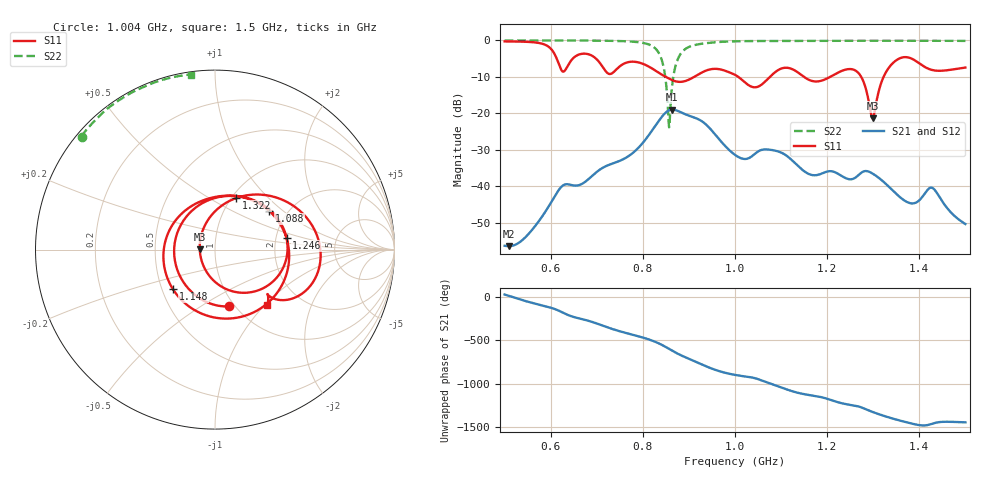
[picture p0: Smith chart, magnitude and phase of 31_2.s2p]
! TOUCHSTONE file generated by CST MICROWAVE STUDIO
! Date and time: Thu Feb 18 07:36:12 2021
! Project name: Scenario_1_Planar_Body_Tissue_Out_of_Line.cst
! Parameters = {L_HA=400; Ltissue=1000; MT=2.54; Rad_Dielectric=30; Rad_Lower=7.3; Rad_Upper=30; Wtissue=1000; a_HA=580; a_WG=246; b_HA=500; b_WG=121; c_HA=0; c_WG=187; d_feed=85; dx1=346; dy1=173; h_feed=15; h_lower=18; h_upper=40; hfat=3; hgap=25; hmuscle=50; hskin=1.5}
! Header version: 2018
! Port assignment regex: !\s*Touchstone port\s*([0-9]+)\s*=\s*(CST MWS port|CST DS port)\s*([0-9]+|Zmin|Zmax)\s*\(\"(.*)\"\)(\s*mode\s*([0-9]+))?.*
! Touchstone port assignment:
! Touchstone port 1 = CST MWS port 1 ("")
! Touchstone port 2 = CST MWS port 2 ("")
# GHz S DB R 50
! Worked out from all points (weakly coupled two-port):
!   1003 points, 500 MHz to 1.5 GHz, reference 50 ohm
!   highest |S21| = -18.98 dB at 864 MHz (marker M1); lowest = -56.5 dB at 509 MHz (marker M2)
!   lowest |S11| = -21.4 dB at 1.299 GHz (marker M3), VSWR 1.19, Z = 42.2 + j0.152 ohm
!   |S11| at or under -10 dB: 849.9 MHz to 911.5 MHz (61.56 MHz wide, 6.99 % of centre); 1.007 GHz to 1.076 GHz (68.64 MHz wide, 6.59 % of centre); 1.15 GHz to 1.206 GHz (56.74 MHz wide, 4.82 % of centre)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
!   |S22| runs from -23.9 to 0.0 dB; largest |S21 - S12| = 2e-06
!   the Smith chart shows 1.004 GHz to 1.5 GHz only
!   S11 on the Smith chart (normalised r, x): 1.004 GHz: 0.94, -0.67; 1.088 GHz: 1.61, +0.81; 1.148 GHz: 0.57, -0.28; 1.246 GHz: 2.29, +0.35; 1.322 GHz: 1.05, +0.67; 1.5 GHz: 1.38, -1.03
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0.5  -0.27 -121.6  -56.36 25.9  -56.36 25.9  -0.01 151.1
0.509  -0.28 -125.2  -56.47 11.6  -56.47 11.6  -0.01 150.6
0.667  -3.68 157.0  -39.43 104.2  -39.43 104.2  -0.04 138.4
0.717  -8.05 22.6  -34.68 19.6  -34.68 19.6  -0.09 132.7
0.741  -8.16 -99.1  -33.48 -23.3  -33.48 -23.3  -0.14 129.0
0.769  -5.94 175.9  -31.75 -65.0  -31.75 -65.0  -0.27 123.3
0.834  -8.83 29.2  -22.19 -175.4  -22.19 -175.4  -3.31 82.7
0.856  -10.41 -29.3  -19.23 122.3  -19.23 122.3  -22.35 -12.9
0.864  -10.92 -52.7  -18.98 97.5  -18.98 97.5  -11.94 -138.7
0.907  -10.32 177.1  -20.96 -10.7  -20.96 -10.7  -1.45 163.1
0.94  -8.15 82.0  -23.43 -87.4  -23.43 -87.4  -0.72 151.4
1  -9.44 -65.9  -31.41 179.7  -31.41 179.7  -0.24 140.3
1.004  -9.73 -76.1  -31.75 176.0  -31.75 176.0  -0.22 139.7
1.045  -12.85 166.6  -30.95 139.3  -30.95 139.3  -0.17 134.8
1.088  -8.62 35.8  -30.27 58.7  -30.27 58.7  -0.13 130.8
1.148  -9.84 -136.6  -35.70 -40.1  -35.70 -40.1  -0.10 125.7
1.167  -11.12 163.4  -36.94 -57.4  -36.94 -57.4  -0.10 124.2
1.246  -7.88 9.2  -38.05 -162.1  -38.05 -162.1  -0.08 118.2
1.299  -21.41 178.8  -36.57 111.7  -36.57 111.7  -0.09 114.2
1.322  -10.13 67.4  -38.76 69.4  -38.76 69.4  -0.08 112.5
1.334  -7.47 45.4  -40.16 49.4  -40.16 49.4  -0.08 111.6
1.5  -7.45 -46.5  -50.40 -7.0  -50.40 -7.0  -0.13 97.9
